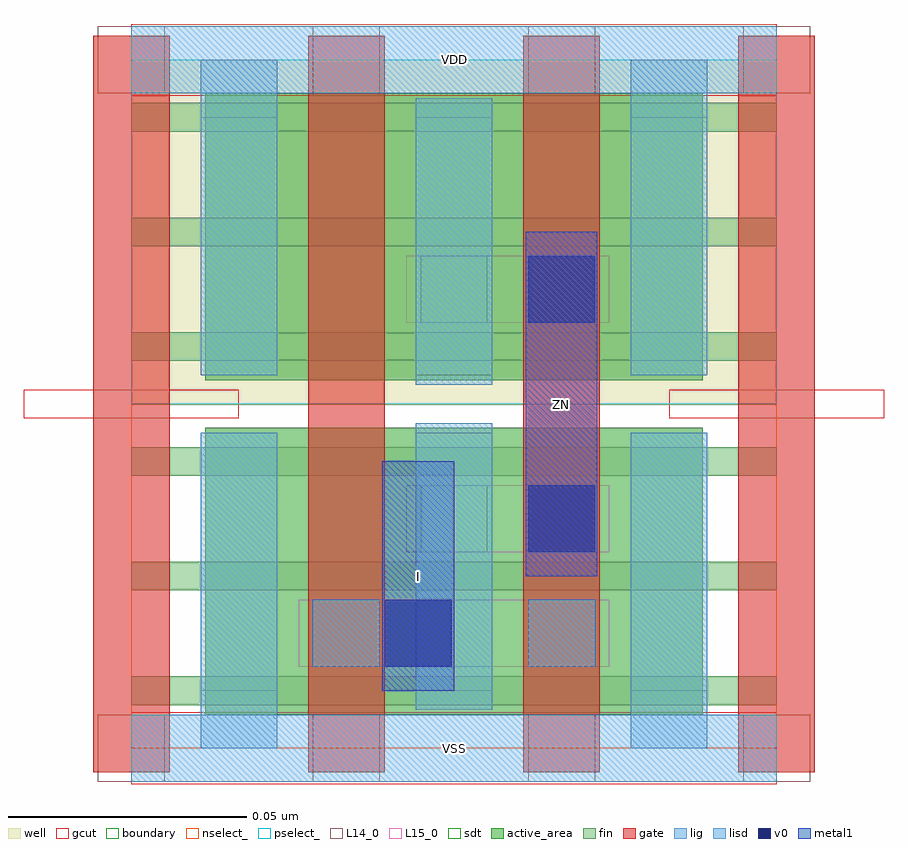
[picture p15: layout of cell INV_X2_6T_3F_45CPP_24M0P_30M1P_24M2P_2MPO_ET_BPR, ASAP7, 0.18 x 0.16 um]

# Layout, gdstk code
import gdstk
lib = gdstk.Library(unit=1e-6, precision=2.5e-10)
def R(c, l, rs):  # rectangles x0, y0, x1, y1
    for r in rs: c.add(gdstk.rectangle(r[:2], r[2:], *l))
def A(c, l, x, y, w, h, nx, ny, dx, dy):  # array of equal rectangles
    R(c, l, [(x+i*dx, y+j*dy, x+i*dx+w, y+j*dy+h) for i in range(nx) for j in range(ny)])
well = (1, 0)
fin = (2, 0)
gate = (7, 0)
gcut = (10, 0)
active_area = (11, 0)
nselect_ = (12, 0)
pselect_ = (13, 0)
L14_0 = (14, 0)
L15_0 = (15, 0)
lig = (16, 0)
lisd = (17, 0)
v0 = (18, 0)
metal1 = (19, 0)
sdt = (88, 0)
boundary = (100, 0)

inv_x2_6t_3f_45cpp_24m0p = lib.new_cell('INV_X2_6T_3F_45CPP_24M0P_30M1P_24M2P_2MPO_ET_BPR')
R(inv_x2_6t_3f_45cpp_24m0p, well, [(0,0.072,0.135,0.144)])
A(inv_x2_6t_3f_45cpp_24m0p, fin, 0, 0.009, 0.135, 0.006, 1, 6, 0, 0.024)
A(inv_x2_6t_3f_45cpp_24m0p, gate, -0.008, -0.005, 0.016, 0.154, 4, 1, 0.045, 0)
R(inv_x2_6t_3f_45cpp_24m0p, gcut, [(0,-0.0075,0.135,0.0075), (-0.0225,0.069,0.0225,0.075), (0.1125,0.069,0.1575,0.075), (0,0.1365,0.135,0.1515)])
R(inv_x2_6t_3f_45cpp_24m0p, active_area, [(0.0155,0.007,0.1195,0.067), (0.0155,0.077,0.1195,0.137)])
R(inv_x2_6t_3f_45cpp_24m0p, nselect_, [(0,0,0.135,0.072)])
R(inv_x2_6t_3f_45cpp_24m0p, pselect_, [(0,0.072,0.135,0.144)])
A(inv_x2_6t_3f_45cpp_24m0p, L14_0, -0.007, -0.007, 0.014, 0.014, 4, 2, 0.045, 0.144)
R(inv_x2_6t_3f_45cpp_24m0p, L14_0, [(0.038,0.017,0.052,0.031), (0.083,0.017,0.097,0.031), (0.0605,0.041,0.0745,0.055), (0.0605,0.089,0.0745,0.103)])
R(inv_x2_6t_3f_45cpp_24m0p, L15_0, [(0,-0.007,0.135,0.007), (0.035,0.017,0.1,0.031), (0.0575,0.041,0.1,0.055), (0.0575,0.089,0.1,0.103), (0,0.137,0.135,0.151)])
R(inv_x2_6t_3f_45cpp_24m0p, lig, [(0,-0.007,0.135,0.007), (0.038,0.017,0.052,0.031), (0.083,0.017,0.097,0.031), (0,0.137,0.135,0.151)])
R(inv_x2_6t_3f_45cpp_24m0p, lisd, [(0.0145,0,0.0305,0.066), (0.1045,0,0.1205,0.066), (0.0595,0.008,0.0755,0.068), (0.0595,0.076,0.0755,0.136), (0.0145,0.078,0.0305,0.144), (0.1045,0.078,0.1205,0.144)])
R(inv_x2_6t_3f_45cpp_24m0p, v0, [(0.053,0.017,0.067,0.031), (0.083,0.041,0.097,0.055), (0.083,0.089,0.097,0.103)])
R(inv_x2_6t_3f_45cpp_24m0p, metal1, [(0.0525,0.012,0.0675,0.06), (0.0825,0.036,0.0975,0.108)])
A(inv_x2_6t_3f_45cpp_24m0p, sdt, 0.0145, 0.012, 0.016, 0.054, 3, 2, 0.045, 0.066)
R(inv_x2_6t_3f_45cpp_24m0p, boundary, [(0,0,0.135,0.144)])
inv_x2_6t_3f_45cpp_24m0p.add(gdstk.Label('ZN', (0.09,0.072), layer=19, texttype=251))
inv_x2_6t_3f_45cpp_24m0p.add(gdstk.Label('I', (0.06,0.036), layer=19, texttype=251))
inv_x2_6t_3f_45cpp_24m0p.add(gdstk.Label('VDD', (0.0675,0.144), layer=15, texttype=251))
inv_x2_6t_3f_45cpp_24m0p.add(gdstk.Label('VSS', (0.0675,0), layer=15, texttype=251))
inv_x2_6t_3f_45cpp_24m0p.add(gdstk.Label('VDD', (0.0675,0.144), layer=1, texttype=251))
inv_x2_6t_3f_45cpp_24m0p.add(gdstk.Label('VSS', (0.0675,0), layer=3, texttype=251))

lib.write_gds('INV_X2_6T_3F_45CPP_24M0P_30M1P_24M2P_2MPO_ET_BPR.gds')
